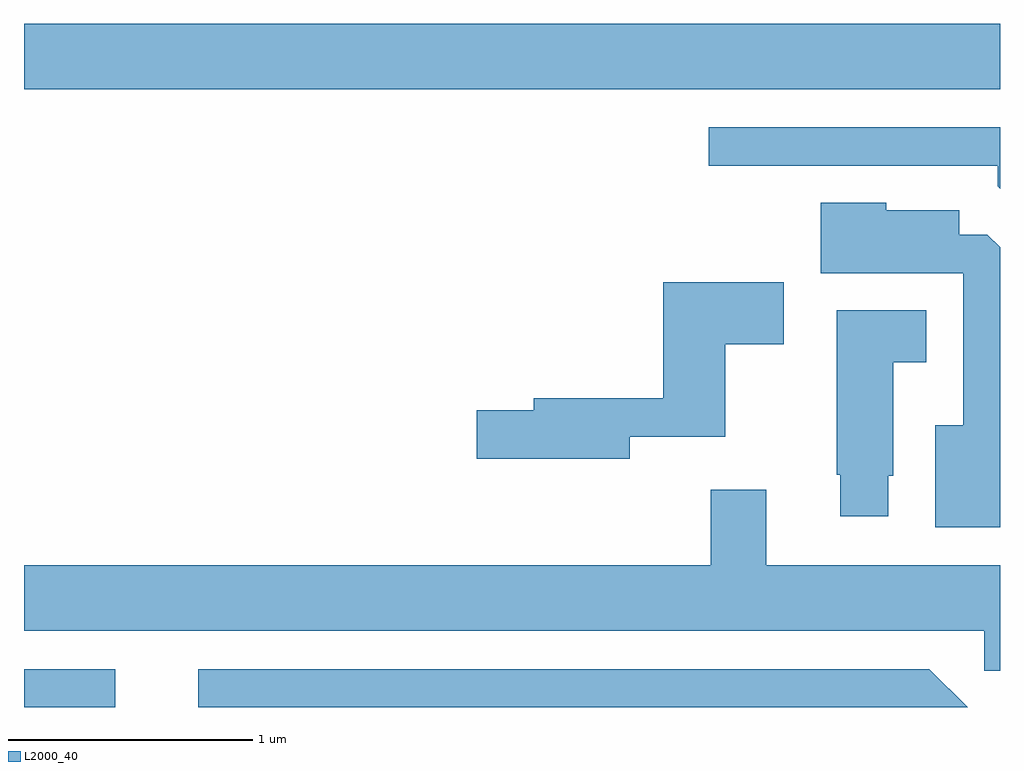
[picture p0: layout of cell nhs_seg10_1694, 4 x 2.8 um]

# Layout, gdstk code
import gdstk
lib = gdstk.Library(unit=1e-6, precision=1e-09)
def R(c, l, rs):  # rectangles x0, y0, x1, y1
    for r in rs: c.add(gdstk.rectangle(r[:2], r[2:], *l))
def P(c, l, *ps):  # polygons
    for p in ps: c.add(gdstk.Polygon(p, *l))
L2000_40 = (2000, 40)

nhs_seg10_1694 = lib.new_cell('nhs_seg10_1694')
R(nhs_seg10_1694, L2000_40, [(235.611,2082.522,235.984,2082.679), (235.611,2085.056,239.611,2085.324)])
P(nhs_seg10_1694, L2000_40, [(239.611,2084.899),(238.418,2084.899),(238.418,2084.741),(239.601,2084.741),(239.601,2084.657),(239.611,2084.647)],
  [(239.611,2084.407),(239.559,2084.459),(239.444,2084.459),(239.444,2084.559),(239.144,2084.559),(239.144,2084.589),(238.876,2084.589),(238.876,2084.301),(239.461,2084.301),(239.461,2083.679),(239.346,2083.679),(239.346,2083.261),(239.611,2083.261)],
  [(238.094,2083.631),(238.484,2083.631),(238.484,2084.011),(238.724,2084.011),(238.724,2084.264),(238.231,2084.264),(238.231,2083.789),(237.701,2083.789),(237.701,2083.739),(237.466,2083.739),(237.466,2083.541),(238.094,2083.541)],
  [(239.154,2083.471),(239.174,2083.471),(239.174,2083.936),(239.309,2083.936),(239.309,2084.149),(238.941,2084.149),(238.941,2083.475),(238.956,2083.475),(238.956,2083.306),(239.154,2083.306)],
  [(239.611,2083.104),(238.654,2083.104),(238.654,2083.414),(238.426,2083.414),(238.426,2083.104),(235.611,2083.104),(235.611,2082.836),(239.546,2082.836),(239.546,2082.671),(239.611,2082.671)],
  [(239.322,2082.679),(236.326,2082.679),(236.326,2082.522),(239.479,2082.522)])

lib.write_gds('nhs_seg10_1694.gds')
